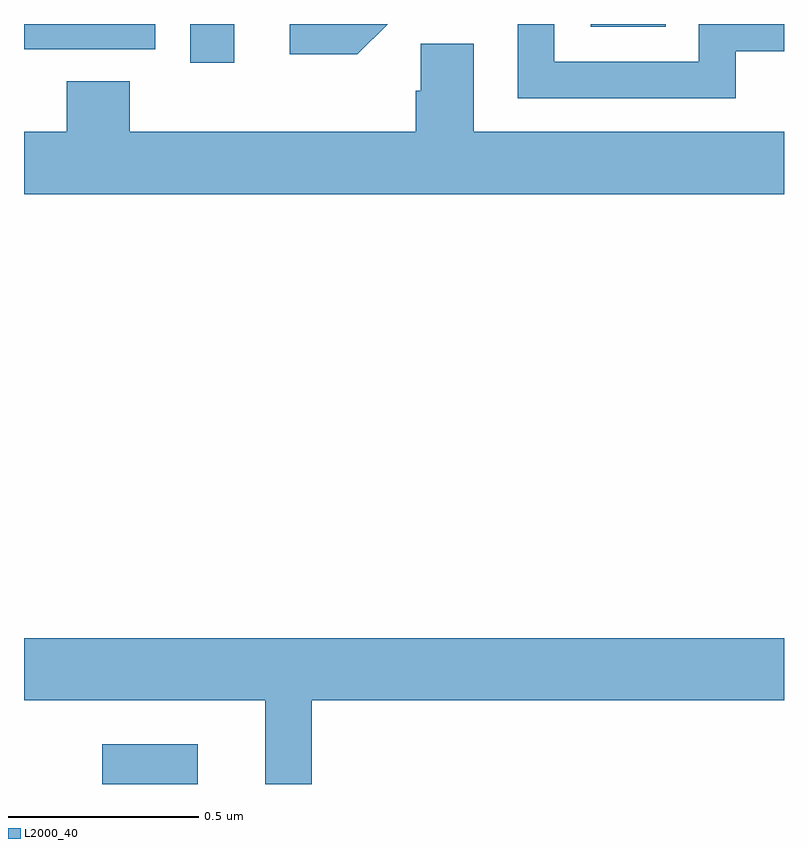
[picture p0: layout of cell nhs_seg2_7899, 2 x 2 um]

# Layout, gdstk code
import gdstk
lib = gdstk.Library(unit=1e-6, precision=1e-09)
def R(c, l, rs):  # rectangles x0, y0, x1, y1
    for r in rs: c.add(gdstk.rectangle(r[:2], r[2:], *l))
def P(c, l, *ps):  # polygons
    for p in ps: c.add(gdstk.Polygon(p, *l))
L2000_40 = (2000, 40)

nhs_seg2_7899 = lib.new_cell('nhs_seg2_7899')
R(nhs_seg2_7899, L2000_40, [(210.206,596.8,210.457,596.905), (210.438,598.698,210.553,598.8), (211.491,598.793,211.689,598.8)])
P(nhs_seg2_7899, L2000_40, [(211.873,598.728),(212,598.728),(212,598.8),(211.776,598.8),(211.776,598.701),(211.395,598.701),(211.395,598.8),(211.299,598.8),(211.299,598.605),(211.873,598.605)],
  [(210.029,598.734),(210.345,598.734),(210.345,598.8),(210,598.8),(210,598.733),(210.029,598.733)],
  [(210.957,598.8),(210.699,598.8),(210.699,598.721),(210.877,598.721)],
  [(212,598.516),(211.183,598.516),(211.183,598.748),(211.044,598.748),(211.044,598.625),(211.031,598.625),(211.031,598.516),(210.278,598.516),(210.278,598.649),(210.113,598.649),(210.113,598.516),(210,598.516),(210,598.352),(212,598.352)],
  [(210.757,597.02),(212,597.02),(212,597.184),(210,597.184),(210,597.02),(210.635,597.02),(210.635,596.8),(210.757,596.8)])

lib.write_gds('nhs_seg2_7899.gds')
